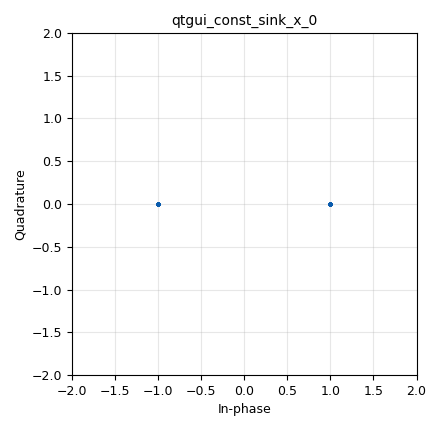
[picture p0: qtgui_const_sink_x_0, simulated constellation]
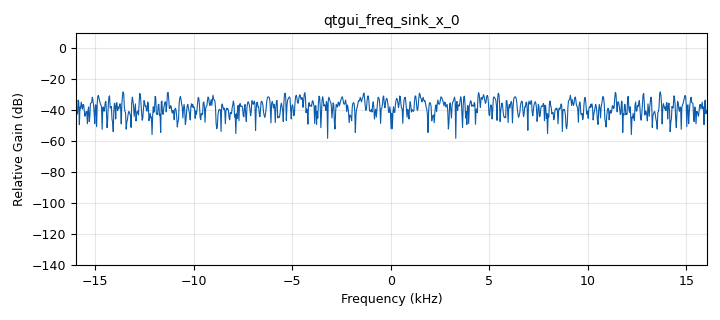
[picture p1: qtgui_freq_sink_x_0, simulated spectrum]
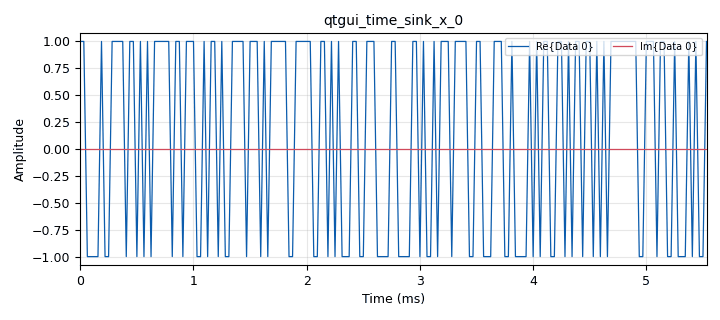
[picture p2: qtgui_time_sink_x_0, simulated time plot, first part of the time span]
<?xml version='1.0' encoding='utf-8'?>
<?grc format='1' created='3.7.10'?>
<flow_graph>
<block>
<key>options</key>
<param><key>id</key><value>top_block</value></param>
<param><key>generate_options</key><value>qt_gui</value></param>
</block>
<block>
<key>variable</key>
<param><key>id</key><value>samp_rate</value></param>
<param><key>value</key><value>32000</value></param>
</block>
<block>
<key>variable_constellation</key>
<param><key>id</key><value>variable_constellation_0</value></param>
<param><key>const_points</key><value>digital.psk_2()[0]</value></param>
<param><key>type</key><value>calcdist</value></param>
<param><key>dims</key><value>1</value></param>
<param><key>rot_sym</key><value>4</value></param>
<param><key>precision</key><value>8</value></param>
<param><key>sym_map</key><value>digital.psk_2()[1]</value></param>
</block>
<block>
<key>analog_random_source_x</key>
<param><key>id</key><value>analog_random_source_x_0</value></param>
<param><key>max</key><value>2</value></param>
<param><key>min</key><value>0</value></param>
<param><key>num_samps</key><value>1000</value></param>
<param><key>type</key><value>byte</value></param>
<param><key>repeat</key><value>True</value></param>
</block>
<block>
<key>blks2_error_rate</key>
<param><key>id</key><value>blks2_error_rate_0</value></param>
<param><key>bits_per_symbol</key><value>2</value></param>
<param><key>type</key><value>'BER'</value></param>
<param><key>win_size</key><value>1000</value></param>
</block>
<block>
<key>blocks_throttle</key>
<param><key>id</key><value>blocks_throttle_0</value></param>
<param><key>samples_per_second</key><value>samp_rate</value></param>
<param><key>type</key><value>complex</value></param>
</block>
<block>
<key>digital_chunks_to_symbols_xx</key>
<param><key>id</key><value>digital_chunks_to_symbols_xx_0</value></param>
<param><key>dimension</key><value>1</value></param>
<param><key>in_type</key><value>byte</value></param>
<param><key>out_type</key><value>complex</value></param>
<param><key>symbol_table</key><value>digital.psk_2()[0]</value></param>
</block>
<block>
<key>digital_constellation_decoder_cb</key>
<param><key>id</key><value>digital_constellation_decoder_cb_0</value></param>
<param><key>constellation</key><value>variable_constellation_0</value></param>
</block>
<block>
<key>qtgui_const_sink_x</key>
<param><key>id</key><value>qtgui_const_sink_x_0</value></param>
<param><key>size</key><value>1024</value></param>
<param><key>type</key><value>complex</value></param>
</block>
<block>
<key>qtgui_freq_sink_x</key>
<param><key>id</key><value>qtgui_freq_sink_x_0</value></param>
<param><key>bw</key><value>samp_rate</value></param>
<param><key>fc</key><value>50</value></param>
<param><key>fftsize</key><value>1024</value></param>
<param><key>showports</key><value>True</value></param>
<param><key>type</key><value>complex</value></param>
<param><key>wintype</key><value>firdes.WIN_BLACKMAN_hARRIS</value></param>
</block>
<block>
<key>qtgui_number_sink</key>
<param><key>id</key><value>qtgui_number_sink_0</value></param>
<param><key>graph_type</key><value>qtgui.NUM_GRAPH_HORIZ</value></param>
<param><key>type</key><value>float</value></param>
</block>
<block>
<key>qtgui_time_sink_x</key>
<param><key>id</key><value>qtgui_time_sink_x_0</value></param>
<param><key>color1</key><value>"blue"</value></param>
<param><key>label1</key><value></value></param>
<param><key>color2</key><value>"red"</value></param>
<param><key>label2</key><value></value></param>
<param><key>size</key><value>1024</value></param>
<param><key>srate</key><value>samp_rate</value></param>
<param><key>type</key><value>complex</value></param>
</block>
<connection><source_block_id>analog_random_source_x_0</source_block_id><sink_block_id>blks2_error_rate_0</sink_block_id><source_key>0</source_key><sink_key>1</sink_key></connection>
<connection><source_block_id>analog_random_source_x_0</source_block_id><sink_block_id>digital_chunks_to_symbols_xx_0</sink_block_id><source_key>0</source_key><sink_key>0</sink_key></connection>
<connection><source_block_id>blks2_error_rate_0</source_block_id><sink_block_id>qtgui_number_sink_0</sink_block_id><source_key>0</source_key><sink_key>0</sink_key></connection>
<connection><source_block_id>blocks_throttle_0</source_block_id><sink_block_id>digital_constellation_decoder_cb_0</sink_block_id><source_key>0</source_key><sink_key>0</sink_key></connection>
<connection><source_block_id>blocks_throttle_0</source_block_id><sink_block_id>qtgui_const_sink_x_0</sink_block_id><source_key>0</source_key><sink_key>0</sink_key></connection>
<connection><source_block_id>blocks_throttle_0</source_block_id><sink_block_id>qtgui_freq_sink_x_0</sink_block_id><source_key>0</source_key><sink_key>0</sink_key></connection>
<connection><source_block_id>blocks_throttle_0</source_block_id><sink_block_id>qtgui_time_sink_x_0</sink_block_id><source_key>0</source_key><sink_key>0</sink_key></connection>
<connection><source_block_id>digital_chunks_to_symbols_xx_0</source_block_id><sink_block_id>blocks_throttle_0</sink_block_id><source_key>0</source_key><sink_key>0</sink_key></connection>
<connection><source_block_id>digital_constellation_decoder_cb_0</source_block_id><sink_block_id>blks2_error_rate_0</sink_block_id><source_key>0</source_key><sink_key>0</sink_key></connection>
</flow_graph>
